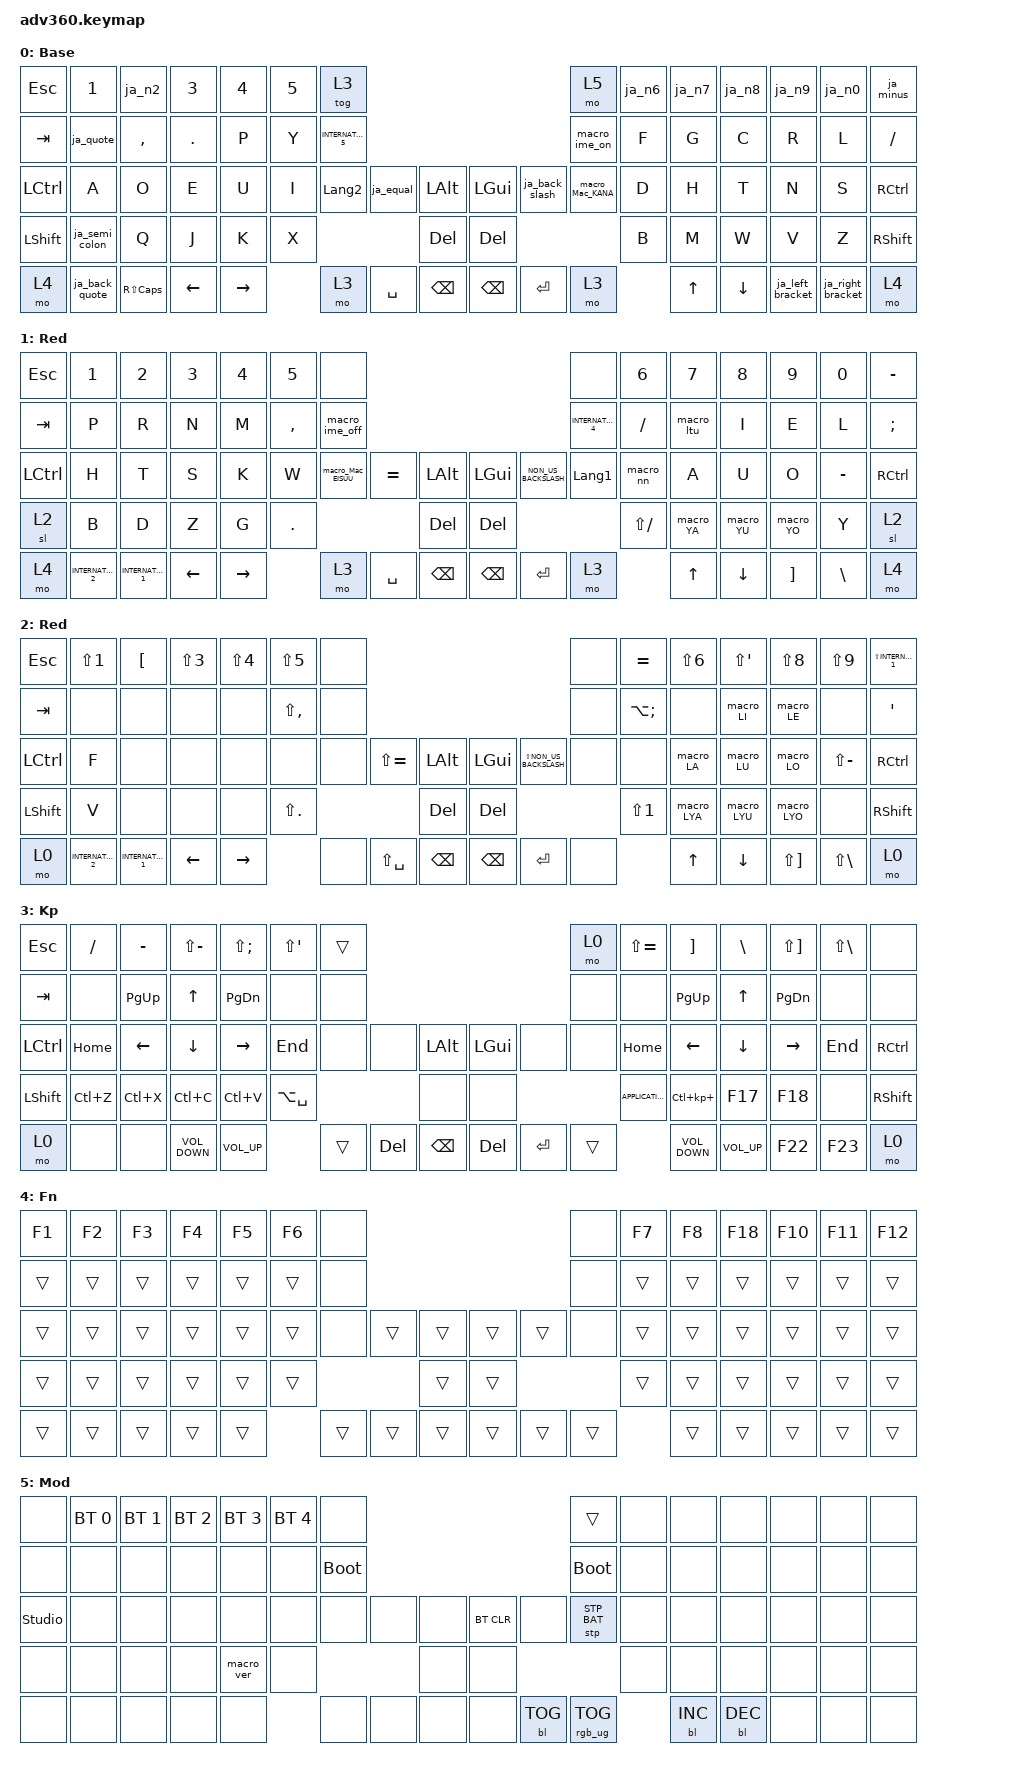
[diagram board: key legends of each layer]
#include <dt-bindings/zmk/stp.h>
#include <behaviors.dtsi>
#include <dt-bindings/zmk/backlight.h>
#include <dt-bindings/zmk/bt.h>
#include <dt-bindings/zmk/keys.h>
#include <dt-bindings/zmk/rgb.h>

/ {
    behaviors {
        #include "macros.dtsi"
      #include "version.dtsi"

        hm: homerow_mods {
            compatible = "zmk,behavior-hold-tap";
            label = "HOMEROW_MODS";
            #binding-cells = <2>;
            tapping-term-ms = <200>;
            quick_tap_ms = <175>;
            flavor = "tap-preferred";
            bindings = <&kp>, <&kp>;
        };

        ja_n2: ja_number_2 {
            compatible = "zmk,behavior-mod-morph";
            #binding-cells = <0>;
            bindings = <&kp N2>, <&kp LBKT>;

            mods = <(MOD_LSFT|MOD_RSFT)>;
        };

        ja_n6: ja_number_6 {
            compatible = "zmk,behavior-mod-morph";
            #binding-cells = <0>;
            bindings = <&kp NUMBER_6>, <&kp EQUAL>;

            mods = <(MOD_LSFT|MOD_RSFT)>;
        };

        ja_n7: ja_number_7 {
            compatible = "zmk,behavior-mod-morph";
            #binding-cells = <0>;
            bindings = <&kp N7>, <&kp NUMBER_6>;

            mods = <(MOD_LSFT|MOD_RSFT)>;
            keep-mods = <(MOD_LSFT|MOD_RSFT)>;
        };

        ja_n8: ja_number_8 {
            compatible = "zmk,behavior-mod-morph";
            #binding-cells = <0>;
            bindings = <&kp N8>, <&kp SINGLE_QUOTE>;

            mods = <(MOD_LSFT|MOD_RSFT)>;
            keep-mods = <(MOD_LSFT|MOD_RSFT)>;
        };

        ja_n9: ja_number_9 {
            compatible = "zmk,behavior-mod-morph";
            #binding-cells = <0>;
            bindings = <&kp N9>, <&kp N8>;

            mods = <(MOD_LSFT|MOD_RSFT)>;
            keep-mods = <(MOD_LSFT|MOD_RSFT)>;
        };

        ja_n0: ja_number_0 {
            compatible = "zmk,behavior-mod-morph";
            #binding-cells = <0>;
            bindings = <&kp N0>, <&kp N9>;

            mods = <(MOD_LSFT|MOD_RSFT)>;
            keep-mods = <(MOD_LSFT|MOD_RSFT)>;
        };

        ja_minus: ja_minus {
            compatible = "zmk,behavior-mod-morph";
            #binding-cells = <0>;
            bindings = <&kp MINUS>, <&kp INTERNATIONAL_1>;

            mods = <(MOD_LSFT|MOD_RSFT)>;
            keep-mods = <(MOD_LSFT|MOD_RSFT)>;
        };

        ja_equal: ja_equal {
            compatible = "zmk,behavior-mod-morph";
            #binding-cells = <0>;
            bindings = <&kp LS(MINUS)>, <&kp SEMICOLON>;

            mods = <(MOD_LSFT|MOD_RSFT)>;
            keep-mods = <(MOD_LSFT|MOD_RSFT)>;
        };

        ja_left_bracket: ja_left_bracket {
            compatible = "zmk,behavior-mod-morph";
            #binding-cells = <0>;
            bindings = <&kp RIGHT_BRACKET>, <&kp RIGHT_BRACKET>;

            mods = <(MOD_LSFT|MOD_RSFT)>;
            keep-mods = <(MOD_LSFT|MOD_RSFT)>;
        };

        ja_right_bracket: ja_right_bracket {
            compatible = "zmk,behavior-mod-morph";
            #binding-cells = <0>;
            bindings = <&kp BACKSLASH>, <&kp BACKSLASH>;

            mods = <(MOD_LSFT|MOD_RSFT)>;
            keep-mods = <(MOD_LSFT|MOD_RSFT)>;
        };

        ja_semi_colon: ja_semi_colon {
            compatible = "zmk,behavior-mod-morph";
            #binding-cells = <0>;
            bindings = <&kp SEMICOLON>, <&kp SINGLE_QUOTE>;

            mods = <(MOD_LSFT|MOD_RSFT)>;
        };

        ja_quote: ja_quote {
            compatible = "zmk,behavior-mod-morph";
            #binding-cells = <0>;
            bindings = <&kp LS(N7)>, <&kp LS(NUMBER_2)>;

            mods = <(MOD_LSFT|MOD_RSFT)>;
        };

        ja_back_quote: ja_back_quote {
            compatible = "zmk,behavior-mod-morph";
            #binding-cells = <0>;
            bindings = <&kp LS(LEFT_BRACKET)>, <&kp LS(EQUAL)>;

            mods = <(MOD_LSFT|MOD_RSFT)>;
        };

        ja_back_slash: ja_back_slash {
            compatible = "zmk,behavior-mod-morph";
            #binding-cells = <0>;
            bindings = <&kp INTERNATIONAL_1>, <&kp INTERNATIONAL_3>;

            mods = <(MOD_LSFT|MOD_RSFT)>;
            keep-mods = <(MOD_LSFT|MOD_RSFT)>;
        };
    };

    macros {
        macro_ltu: macro_ltu {
            compatible = "zmk,behavior-macro";
            #binding-cells = <0>;
            bindings = <&kp L &kp T &kp U>;
            label = "MACRO_LTU";
            wait-ms = <0>;
        };

        macro_nn: macro_nn {
            compatible = "zmk,behavior-macro";
            #binding-cells = <0>;
            bindings = <&kp N &kp N>;
            label = "MACRO_NN";
        };

        macro_ime_on: macro_ime_on {
            compatible = "zmk,behavior-macro";
            #binding-cells = <0>;
            bindings = <&kp INTERNATIONAL_4 &to 1>;
            label = "MACRO_IME_ON";
        };

        macro_ime_off: macro_ime_off {
            compatible = "zmk,behavior-macro";
            #binding-cells = <0>;
            bindings = <&kp INTERNATIONAL_5 &to 0>;
            label = "MACRO_IME_OFF";
        };

        macro_SANTEN: macro_SANTEN {
            compatible = "zmk,behavior-macro";
            #binding-cells = <0>;
            bindings = <&kp FSLH &kp FSLH &kp FSLH>;
            label = "MACRO_SANTEN";
        };

        macro_YA: macro_YA {
            compatible = "zmk,behavior-macro";
            #binding-cells = <0>;
            bindings = <&kp Y &kp A>;
            label = "MACRO_YA";
            wait-ms = <0>;
        };

        macro_YU: macro_YU {
            compatible = "zmk,behavior-macro";
            #binding-cells = <0>;
            bindings = <&kp Y &kp U>;
            label = "MACRO_YU";
            wait-ms = <0>;
        };

        macro_YO: macro_YO {
            compatible = "zmk,behavior-macro";
            #binding-cells = <0>;
            bindings = <&kp Y &kp O>;
            label = "MACRO_YO";
            wait-ms = <0>;
        };

        macro_LA: macro_LA {
            compatible = "zmk,behavior-macro";
            #binding-cells = <0>;
            bindings = <&kp L &kp A>;
            label = "MACRO_LA";
        };

        macro_LI: macro_LI {
            compatible = "zmk,behavior-macro";
            #binding-cells = <0>;
            bindings = <&kp L &kp I>;
            label = "MACRO_LI";
        };

        macro_LU: macro_LU {
            compatible = "zmk,behavior-macro";
            #binding-cells = <0>;
            bindings = <&kp L &kp U>;
            label = "MACRO_LU";
        };

        macro_LE: macro_LE {
            compatible = "zmk,behavior-macro";
            #binding-cells = <0>;
            bindings = <&kp L &kp E>;
            label = "MACRO_LE";
        };

        macro_LO: macro_LO {
            compatible = "zmk,behavior-macro";
            #binding-cells = <0>;
            bindings = <&kp L &kp O>;
            label = "MACRO_LO";
        };

        macro_LYA: macro_LYA {
            compatible = "zmk,behavior-macro";
            #binding-cells = <0>;
            bindings = <&kp L &kp Y &kp A>;
            label = "MACRO_LYA";
        };

        macro_LYU: macro_LYU {
            compatible = "zmk,behavior-macro";
            #binding-cells = <0>;
            bindings = <&kp L &kp Y &kp U>;
            label = "MACRO_LYU";
        };

        macro_LYO: macro_LYO {
            compatible = "zmk,behavior-macro";
            #binding-cells = <0>;
            bindings = <&kp L &kp Y &kp O>;
            label = "MACRO_LYO";
        };

        macro_Mac_KANA: macro_Mac_KANA {
            compatible = "zmk,behavior-macro";
            #binding-cells = <0>;
            bindings = <&kp LANGUAGE_1 &to 1>;
            label = "MACRO_MAC_KANA";
        };

        macro_Mac_EISUU: macro_Mac_EISUU {
            compatible = "zmk,behavior-macro";
            #binding-cells = <0>;
            bindings = <&kp LANGUAGE_2 &to 0>;
            label = "MACRO_MAC_EISUU";
        };

        macro_SHIFT: macro_SHIFT {
            compatible = "zmk,behavior-macro";
            #binding-cells = <0>;
            bindings = <&kp LEFT_SHIFT &sl 0>;
            label = "MACRO_SHIFT";
        };
    };

    keymap {
        compatible = "zmk,keymap";

        default_layer {
            display-name = "Base";
            bindings = <
&kp ESC           &kp N1          &ja_n2        &kp N3      &kp N4     &kp N5  &tog 3                                                                            &mo 5            &ja_n6  &ja_n7  &ja_n8    &ja_n9            &ja_n0             &ja_minus
&kp TAB           &ja_quote       &kp COMMA     &kp PERIOD  &kp P      &kp Y   &kp INTERNATIONAL_5                                                               &macro_ime_on    &kp F   &kp G   &kp C     &kp R             &kp L              &kp SLASH
&kp LEFT_CONTROL  &kp A           &kp O         &kp E       &kp U      &kp I   &kp LANGUAGE_2       &ja_equal  &kp LALT           &kp LGUI       &ja_back_slash  &macro_Mac_KANA  &kp D   &kp H   &kp T     &kp N             &kp S              &kp RIGHT_CONTROL
&kp LEFT_SHIFT    &ja_semi_colon  &kp Q         &kp J       &kp K      &kp X                                   &kp DELETE         &kp DELETE                                      &kp B   &kp M   &kp W     &kp V             &kp Z              &kp RIGHT_SHIFT
&mo 4             &ja_back_quote  &kp RS(CAPS)  &kp LEFT    &kp RIGHT          &mo 3                &kp SPACE  &kp BACKSPACE      &kp BACKSPACE  &kp ENTER       &mo 3                    &kp UP  &kp DOWN  &ja_left_bracket  &ja_right_bracket  &mo 4
            >;
        };

        Japanese {
            display-name = "Red";
            bindings = <
&kp ESC           &kp N1               &kp N2               &kp N3    &kp N4     &kp N5      &none                                                                                &none                &kp N6         &kp N7      &kp N8     &kp N9             &kp N0         &kp MINUS
&kp TAB           &kp P                &kp R                &kp N     &kp M      &kp COMMA   &macro_ime_off                                                                       &kp INTERNATIONAL_4  &kp SLASH      &macro_ltu  &kp I      &kp E              &kp L          &kp SEMICOLON
&kp LEFT_CONTROL  &kp H                &kp T                &kp S     &kp K      &kp W       &macro_Mac_EISUU  &kp EQUAL  &kp LALT           &kp LGUI       &kp NON_US_BACKSLASH  &kp LANGUAGE_1       &macro_nn      &kp A       &kp U      &kp O              &kp MINUS      &kp RIGHT_CONTROL
&sl 2             &kp B                &kp D                &kp Z     &kp G      &kp PERIOD                               &kp DELETE         &kp DELETE                                                &kp LS(SLASH)  &macro_YA   &macro_YU  &macro_YO          &kp Y          &sl 2
&mo 4             &kp INTERNATIONAL_2  &kp INTERNATIONAL_1  &kp LEFT  &kp RIGHT              &mo 3             &kp SPACE  &kp BACKSPACE      &kp BACKSPACE  &kp ENTER             &mo 3                               &kp UP      &kp DOWN   &kp RIGHT_BRACKET  &kp BACKSLASH  &mo 4
            >;
        };

        JAPANESE_Shift {
            display-name = "Red";
            bindings = <
&kp ESC           &kp LS(N1)           &kp LEFT_BRACKET     &kp LS(N3)  &kp LS(N4)  &kp LS(N5)      &none                                                                             &none  &kp EQUAL          &kp LS(NUMBER_6)  &kp LS(APOSTROPHE)  &kp LS(NUMBER_8)       &kp LS(N9)         &kp LS(INTERNATIONAL_1)
&kp TAB           &none                &none                &none       &none       &kp LS(COMMA)   &none                                                                             &none  &kp LA(SEMICOLON)  &none             &macro_LI           &macro_LE              &none              &kp APOS
&kp LEFT_CONTROL  &kp F                &none                &none       &none       &none           &none  &kp LS(EQUAL)  &kp LALT           &kp LGUI       &kp LS(NON_US_BACKSLASH)  &none  &none              &macro_LA         &macro_LU           &macro_LO              &kp LS(MINUS)      &kp RIGHT_CONTROL
&kp LSHFT         &kp V                &none                &none       &none       &kp LS(PERIOD)                        &kp DELETE         &kp DELETE                                      &kp LS(NUMBER_1)   &macro_LYA        &macro_LYU          &macro_LYO             &none              &kp RSHFT
&mo 0             &kp INTERNATIONAL_2  &kp INTERNATIONAL_1  &kp LEFT    &kp RIGHT                   &none  &kp LS(SPACE)  &kp BACKSPACE      &kp BACKSPACE  &kp ENTER                 &none                     &kp UP            &kp DOWN            &kp LS(RIGHT_BRACKET)  &kp LS(BACKSLASH)  &mo 0
            >;
        };

        KEYPAD {
            display-name = "Kp";
            bindings = <
&kp ESCAPE        &kp SLASH  &kp MINUS       &kp LS(MINUS)      &kp LS(SEMICOLON)  &kp LS(APOSTROPHE)  &trans                                                     &mo 0   &kp LS(EQUAL)      &kp RIGHT_BRACKET  &kp BACKSLASH    &kp LS(RIGHT_BRACKET)  &kp LS(BACKSLASH)  &none
&kp TAB           &none      &kp PAGE_UP     &kp UP             &kp PAGE_DOWN      &none               &none                                                      &none   &none              &kp PAGE_UP        &kp UP_ARROW     &kp PAGE_DOWN          &none              &none
&kp LEFT_CONTROL  &kp HOME   &kp LEFT_ARROW  &kp DOWN_ARROW     &kp RIGHT_ARROW    &kp END             &none   &none    &kp LALT           &kp LGUI    &none      &none   &kp HOME           &kp LEFT_ARROW     &kp DOWN_ARROW   &kp RIGHT_ARROW        &kp END            &kp RIGHT_CONTROL
&kp LSHFT         &kp LC(Z)  &kp LC(X)       &kp LC(C)          &kp LC(V)          &kp LA(SPACE)                        &none              &none                          &kp K_APPLICATION  &kp LC(KP_PLUS)    &kp F17          &kp F18                &none              &kp RSHFT
&mo 0             &none      &none           &kp C_VOLUME_DOWN  &kp C_VOLUME_UP                        &trans  &kp DEL  &kp BACKSPACE      &kp DELETE  &kp ENTER  &trans                     &kp C_VOLUME_DOWN  &kp C_VOLUME_UP  &kp F22                &kp F23            &mo 0
            >;
        };

        Fn {
            display-name = "Fn";
            bindings = <
&kp F1  &kp F2  &kp F3  &kp F4  &kp F5  &kp F6  &none                                       &none   &kp F7  &kp F8  &kp F18  &kp F10  &kp F11  &kp F12
&trans  &trans  &trans  &trans  &trans  &trans  &none                                       &none   &trans  &trans  &trans   &trans   &trans   &trans
&trans  &trans  &trans  &trans  &trans  &trans  &none   &trans  &trans      &trans  &trans  &none   &trans  &trans  &trans   &trans   &trans   &trans
&trans  &trans  &trans  &trans  &trans  &trans                  &trans      &trans                  &trans  &trans  &trans   &trans   &trans   &trans
&trans  &trans  &trans  &trans  &trans          &trans  &trans  &trans      &trans  &trans  &trans          &trans  &trans   &trans   &trans   &trans
            >;
        };

        MOD {
            display-name = "Mod";
            bindings = <
&none           &bt BT_SEL 0  &bt BT_SEL 1  &bt BT_SEL 2  &bt BT_SEL 3  &bt BT_SEL 4  &none                                                  &trans           &none  &none       &none       &none  &none  &none
&none           &none         &none         &none         &none         &none         &bootloader                                            &bootloader      &none  &none       &none       &none  &none  &none
&studio_unlock  &none         &none         &none         &none         &none         &none        &none  &none      &bt BT_CLR  &none       &stp STP_BAT     &none  &none       &none       &none  &none  &none
&none           &none         &none         &none         &macro_ver    &none                             &none      &none                                    &none  &none       &none       &none  &none  &none
&none           &none         &none         &none         &none                       &none        &none  &none      &none       &bl BL_TOG  &rgb_ug RGB_TOG         &bl BL_INC  &bl BL_DEC  &none  &none  &none
            >;
        };
    };
};
